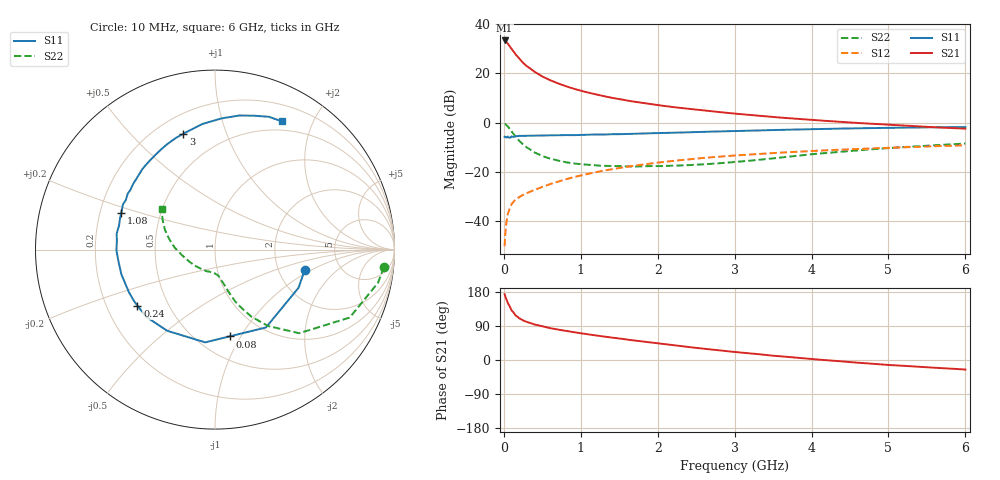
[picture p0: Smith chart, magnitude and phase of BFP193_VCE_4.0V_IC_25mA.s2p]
! Infineon Technologies  Discrete & RF Semiconductors
! BFP193
! VCE = 4.0 V,  IC =  25 mA
! Common Emitter S-Parameters:  Jan 2016
# GHz  S  MA  R  50
!  f  S11  S21  S12  S22
! GHz  MAG  ANG  MAG  ANG  MAG  ANG  MAG  ANG
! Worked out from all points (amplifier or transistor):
!   210 points, 10 MHz to 6 GHz, reference 50 ohm
!   highest |S21| = 33.5 dB at 10 MHz (marker M1)
!   |S21| within 3 dB of that: start of sweep to 90.21 MHz
!   unconditionally stable (mu >= 1): 719.7 MHz to 3.832 GHz
!   at 185 MHz: K = 0.53, MSG = 28.7 dB, |S12| = -30.8 dB
!   at 1.52 GHz: K = 1.07, MAG = 12.3 dB, |S12| = -18.5 dB
!   at 6 GHz: K = 0.93, MSG = 3.4 dB, |S12| = -9.3 dB
!   S11 on the Smith chart (normalised r, x): 10 MHz: 2.81, -0.86; 80 MHz: 0.70, -0.90; 240 MHz: 0.33, -0.29; 1.08 GHz: 0.29, +0.17; 3 GHz: 0.31, +0.72; 6 GHz: 0.39, +1.58
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0.01  0.5123 -12.7  47.2 173.8  0.003 85.0  0.9464 -5.9
0.02  0.5119 -24.5  45.62 166.6  0.0056 76.7  0.9271 -11.5
0.05  0.5185 -56.8  41.07 150.5  0.0133 69.2  0.8404 -26.8
0.08  0.4904 -80.5  35.11 140.0  0.0182 61.6  0.7239 -36.5
0.1  0.5197 -96.0  31.98 131.1  0.0215 58.5  0.6611 -44.8
0.15  0.5248 -120.4  24.83 118.2  0.0267 52.9  0.5184 -55.2
0.2  0.5353 -135.4  20.03 110.2  0.03 52.1  0.4237 -61.6
0.24  0.5335 -144.1  17.19 105.7  0.0327 51.8  0.3682 -64.8
0.3  0.5353 -153.7  14.06 100.0  0.0362 52.8  0.3089 -68.8
0.4  0.5397 -165.4  10.8 93.7  0.0425 54.9  0.2446 -72.4
0.5  0.5417 -172.9  8.69 88.7  0.0481 56.7  0.2071 -74.8
0.6  0.5492 -179.6  7.311 84.2  0.0552 57.7  0.1836 -77.2
0.7  0.5489 174.9  6.307 80.3  0.062 58.7  0.1672 -79.2
1.02  0.5582 160.7  4.368 70.0  0.0844 58.8  0.1404 -85.5
1.08  0.561 158.5  4.135 68.2  0.0886 58.7  0.1378 -87.0
1.4  0.5777 147.4  3.196 59.4  0.1106 56.9  0.1299 -95.3
2.02  0.6089 129.4  2.245 43.6  0.153 50.6  0.1291 -116.2
3  0.6696 105.3  1.52 21.0  0.2123 39.3  0.1565 -153.6
3.1  0.6748 103.3  1.472 19.3  0.2173 38.0  0.1611 -157.3
4.1  0.7362 85.7  1.103 0.9  0.2672 26.5  0.2324 174.7
5.1  0.7808 72.5  0.883 -14.2  0.3086 15.6  0.3082 156.3
6  0.8057 62.6  0.749 -25.2  0.3436 6.1  0.3721 143.1
